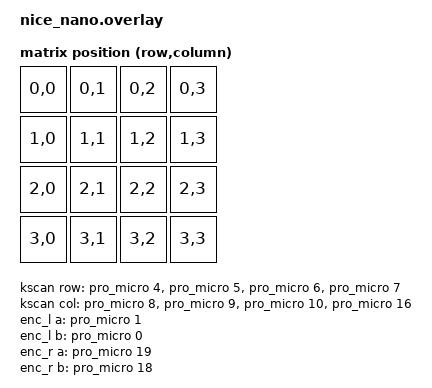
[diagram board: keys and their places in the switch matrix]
/*
 * void16-redux-mod — ZMK shield overlay (nice!nano v2)
 *
 * 4x4 handwired matrix (per-switch PCBs, col2row diodes),
 * 2x EC11 encoders flanking a 0.91"/0.96" SSD1306 I2C OLED.
 *
 * SPDX-License-Identifier: MIT
 */

#include <physical_layouts.dtsi>
#include <dt-bindings/zmk/matrix_transform.h>

/ {
    chosen {
        zephyr,display = &oled;
        zmk,kscan = &kscan;
        zmk,physical-layout = &grid_4x4_layout;
    };

    identity_transform: identity_transform {
        compatible = "zmk,matrix-transform";
        columns = <4>;
        rows = <4>;
        map = <
            RC(0,0) RC(0,1) RC(0,2) RC(0,3)
            RC(1,0) RC(1,1) RC(1,2) RC(1,3)
            RC(2,0) RC(2,1) RC(2,2) RC(2,3)
            RC(3,0) RC(3,1) RC(3,2) RC(3,3)
        >;
    };

    kscan: kscan {
        compatible = "zmk,kscan-gpio-matrix";
        wakeup-source;

        diode-direction = "col2row";
        row-gpios
            = <&pro_micro 4  (GPIO_ACTIVE_HIGH | GPIO_PULL_DOWN)>
            , <&pro_micro 5  (GPIO_ACTIVE_HIGH | GPIO_PULL_DOWN)>
            , <&pro_micro 6  (GPIO_ACTIVE_HIGH | GPIO_PULL_DOWN)>
            , <&pro_micro 7  (GPIO_ACTIVE_HIGH | GPIO_PULL_DOWN)>
            ;
        col-gpios
            = <&pro_micro 8   GPIO_ACTIVE_HIGH>
            , <&pro_micro 9   GPIO_ACTIVE_HIGH>
            , <&pro_micro 10  GPIO_ACTIVE_HIGH>
            , <&pro_micro 16  GPIO_ACTIVE_HIGH>
            ;
    };

    grid_4x4_layout: grid_4x4_layout {
        compatible = "zmk,physical-layout";
        display-name = "void16-redux-mod";

        transform = <&identity_transform>;

        keys  //                        w    h    x    y   rot  rx  ry
            = <&key_physical_attrs 100  100  100    0    0   0   0>
            , <&key_physical_attrs 100  100  200    0    0   0   0>
            , <&key_physical_attrs 100  100  300    0    0   0   0>
            , <&key_physical_attrs 100  100  400    0    0   0   0>
            , <&key_physical_attrs 100  100  100  100    0   0   0>
            , <&key_physical_attrs 100  100  200  100    0   0   0>
            , <&key_physical_attrs 100  100  300  100    0   0   0>
            , <&key_physical_attrs 100  100  400  100    0   0   0>
            , <&key_physical_attrs 100  100  100  200    0   0   0>
            , <&key_physical_attrs 100  100  200  200    0   0   0>
            , <&key_physical_attrs 100  100  300  200    0   0   0>
            , <&key_physical_attrs 100  100  400  200    0   0   0>
            , <&key_physical_attrs 100  100  100  300    0   0   0>
            , <&key_physical_attrs 100  100  200  300    0   0   0>
            , <&key_physical_attrs 100  100  300  300    0   0   0>
            , <&key_physical_attrs 100  100  400  300    0   0   0>
            ;
    };

    enc_l: encoder_left {
        compatible = "alps,ec11";
        a-gpios = <&pro_micro 1 (GPIO_ACTIVE_LOW | GPIO_PULL_UP)>;
        b-gpios = <&pro_micro 0 (GPIO_ACTIVE_LOW | GPIO_PULL_UP)>;
        steps = <80>;
        status = "okay";
    };

    enc_r: encoder_right {
        compatible = "alps,ec11";
        a-gpios = <&pro_micro 19 (GPIO_ACTIVE_LOW | GPIO_PULL_UP)>;
        b-gpios = <&pro_micro 18 (GPIO_ACTIVE_LOW | GPIO_PULL_UP)>;
        steps = <80>;
        status = "okay";
    };

    sensors {
        compatible = "zmk,keymap-sensors";
        sensors = <&enc_l &enc_r>;
        triggers-per-rotation = <20>;
    };
};

&pro_micro_i2c {
    status = "okay";

    oled: ssd1306@3c {
        compatible = "solomon,ssd1306fb";
        reg = <0x3c>;
        width = <128>;
        height = <32>;
        segment-offset = <0>;
        page-offset = <0>;
        display-offset = <0>;
        multiplex-ratio = <31>;
        segment-remap;
        com-invdir;
        com-sequential;
        inversion-on;
        prechargep = <0x22>;
    };
};
